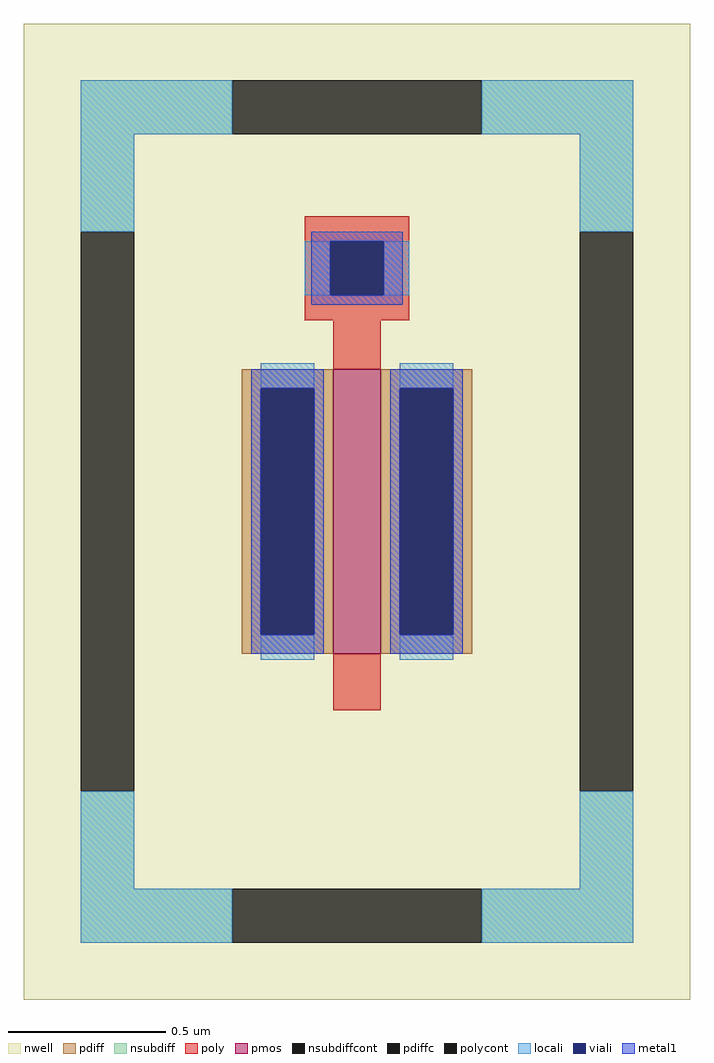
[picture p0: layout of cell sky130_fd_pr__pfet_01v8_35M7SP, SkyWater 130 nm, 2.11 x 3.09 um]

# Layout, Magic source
magic
tech sky130A
magscale 1 2
<< nwell >>
rect -211 -309 211 309
<< pmos >>
rect -15 -90 15 90
<< pdiff >>
rect -73 78 -15 90
rect -73 -78 -61 78
rect -27 -78 -15 78
rect -73 -90 -15 -78
rect 15 78 73 90
rect 15 -78 27 78
rect 61 -78 73 78
rect 15 -90 73 -78
<< pdiffc >>
rect -61 -78 -27 78
rect 27 -78 61 78
<< nsubdiff >>
rect -175 239 -79 273
rect 79 239 175 273
rect -175 177 -141 239
rect 141 177 175 239
rect -175 -239 -141 -177
rect 141 -239 175 -177
rect -175 -273 -79 -239
rect 79 -273 175 -239
<< nsubdiffcont >>
rect -79 239 79 273
rect -175 -177 -141 177
rect 141 -177 175 177
rect -79 -273 79 -239
<< poly >>
rect -33 171 33 187
rect -33 137 -17 171
rect 17 137 33 171
rect -33 121 33 137
rect -15 90 15 121
rect -15 -126 15 -90
<< polycont >>
rect -17 137 17 171
<< locali >>
rect -175 239 -79 273
rect 79 239 175 273
rect -175 177 -141 239
rect 141 177 175 239
rect -33 137 -17 171
rect 17 137 33 171
rect -61 78 -27 94
rect -61 -94 -27 -78
rect 27 78 61 94
rect 27 -94 61 -78
rect -175 -239 -141 -177
rect 141 -239 175 -177
rect -175 -273 -79 -239
rect 79 -273 175 -239
<< viali >>
rect -17 137 17 171
rect -61 -78 -27 78
rect 27 -78 61 78
<< metal1 >>
rect -29 171 29 177
rect -29 137 -17 171
rect 17 137 29 171
rect -29 131 29 137
rect -67 78 -21 90
rect -67 -78 -61 78
rect -27 -78 -21 78
rect -67 -90 -21 -78
rect 21 78 67 90
rect 21 -78 27 78
rect 61 -78 67 78
rect 21 -90 67 -78
<< properties >>
string gencell sky130_fd_pr__pfet_01v8
string FIXED_BBOX -158 -256 158 256
string parameters w 0.9 l 0.15 m 1 nf 1 diffcov 100 polycov 100 guard 1 glc 1 grc 1 gtc 1 gbc 1 tbcov 100 rlcov 100 topc 1 botc 1 poverlap 0 doverlap 1 lmin 0.15 wmin 0.42 compatible {sky130_fd_pr__pfet_01v8  sky130_fd_pr__pfet_01v8_lvt sky130_fd_pr__pfet_01v8_hvt  sky130_fd_pr__pfet_g5v0d10v5} full_metal 1 viagl 0 viagr 0 viagt 0 viagb 0 viagate 100 viadrn 100 viasrc 100
string library sky130
<< end >>
